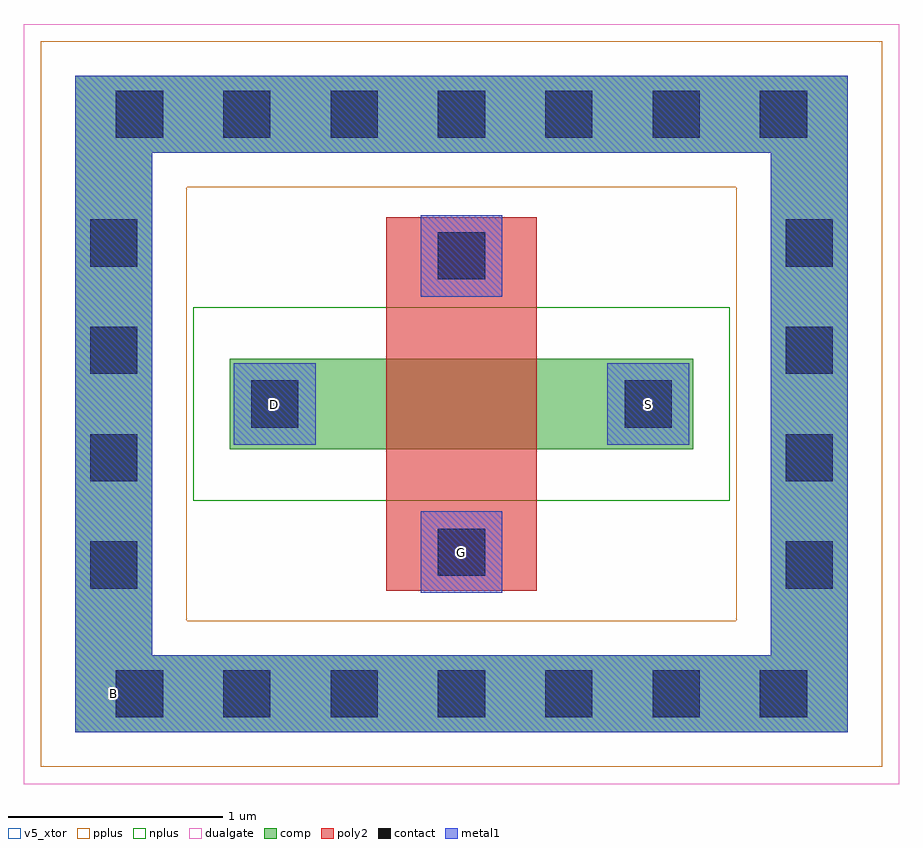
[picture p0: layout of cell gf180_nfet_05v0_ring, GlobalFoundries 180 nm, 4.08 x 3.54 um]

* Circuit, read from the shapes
.subckt gf180_nfet_05v0_ring B D G S
XM1 S G D B nfet_05v0 w=0.42u l=0.7u
.ends

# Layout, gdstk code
import gdstk
lib = gdstk.Library(unit=1e-6, precision=1e-09)
def R(c, l, rs):  # rectangles x0, y0, x1, y1
    for r in rs: c.add(gdstk.rectangle(r[:2], r[2:], *l))
def A(c, l, x, y, w, h, nx, ny, dx, dy):  # array of equal rectangles
    R(c, l, [(x+i*dx, y+j*dy, x+i*dx+w, y+j*dy+h) for i in range(nx) for j in range(ny)])
def P(c, l, *ps):  # polygons
    for p in ps: c.add(gdstk.Polygon(p, *l))
comp = (22, 0)
poly2 = (30, 0)
pplus = (31, 0)
nplus = (32, 0)
contact = (33, 0)
metal1 = (34, 0)
dualgate = (55, 0)
v5_xtor = (112, 1)

nfet = lib.new_cell('nfet')
R(nfet, comp, [(-0.42,0,1.74,0.42)])
R(nfet, poly2, [(0.31,-0.66,1.01,1.08)])
R(nfet, nplus, [(-0.59,-0.24,1.91,0.66)])
R(nfet, contact, [(0.55,-0.59,0.77,-0.37), (-0.32,0.1,-0.1,0.32), (1.42,0.1,1.64,0.32), (0.55,0.79,0.77,1.01)])
R(nfet, metal1, [(0.47,-0.67,0.85,-0.29), (-0.4,0.02,-0.02,0.4), (1.34,0.02,1.72,0.4), (0.47,0.71,0.85,1.09)])
R(nfet, dualgate, [(-0.84,-1.08,2.16,1.5)])
R(nfet, v5_xtor, [(-0.84,-1.08,2.16,1.5)])

gf180_nfet_05v0_ring = lib.new_cell('gf180_nfet_05v0_ring')
P(gf180_nfet_05v0_ring, comp, [(-1.14,-1.32),(-1.14,1.38),(-0.78,1.38),(-0.78,-0.96),(2.1,-0.96),(2.1,1.38),(-1.14,1.38),(-1.14,1.74),(2.46,1.74),(2.46,-1.32)])
P(gf180_nfet_05v0_ring, pplus, [(-1.3,-1.48),(-1.3,1.22),(-0.62,1.22),(-0.62,-0.8),(1.94,-0.8),(1.94,1.22),(-1.3,1.22),(-1.3,1.9),(2.62,1.9),(2.62,-1.48)])
A(gf180_nfet_05v0_ring, contact, -0.95, -1.25, 0.22, 0.22, 7, 2, 0.5, 2.7)
A(gf180_nfet_05v0_ring, contact, -1.07, -0.65, 0.22, 0.22, 1, 4, 0, 0.5)
A(gf180_nfet_05v0_ring, contact, 2.17, -0.65, 0.22, 0.22, 1, 4, 0, 0.5)
P(gf180_nfet_05v0_ring, metal1, [(-1.14,-1.32),(-1.14,1.38),(-0.78,1.38),(-0.78,-0.96),(2.1,-0.96),(2.1,1.38),(-1.14,1.38),(-1.14,1.74),(2.46,1.74),(2.46,-1.32)])
R(gf180_nfet_05v0_ring, dualgate, [(-1.38,-1.56,2.7,1.98)])
R(gf180_nfet_05v0_ring, v5_xtor, [(-1.38,-1.56,2.7,1.98)])
gf180_nfet_05v0_ring.add(gdstk.Reference(nfet, (0,0)))
gf180_nfet_05v0_ring.add(gdstk.Label('D', (-0.21,0.21), layer=34, texttype=10))
gf180_nfet_05v0_ring.add(gdstk.Label('S', (1.53,0.21), layer=34, texttype=10))
gf180_nfet_05v0_ring.add(gdstk.Label('G', (0.66,-0.48), layer=34, texttype=10))
gf180_nfet_05v0_ring.add(gdstk.Label('B', (-0.96,-1.14), layer=34, texttype=10))

lib.write_gds('gf180_nfet_05v0_ring.gds')
